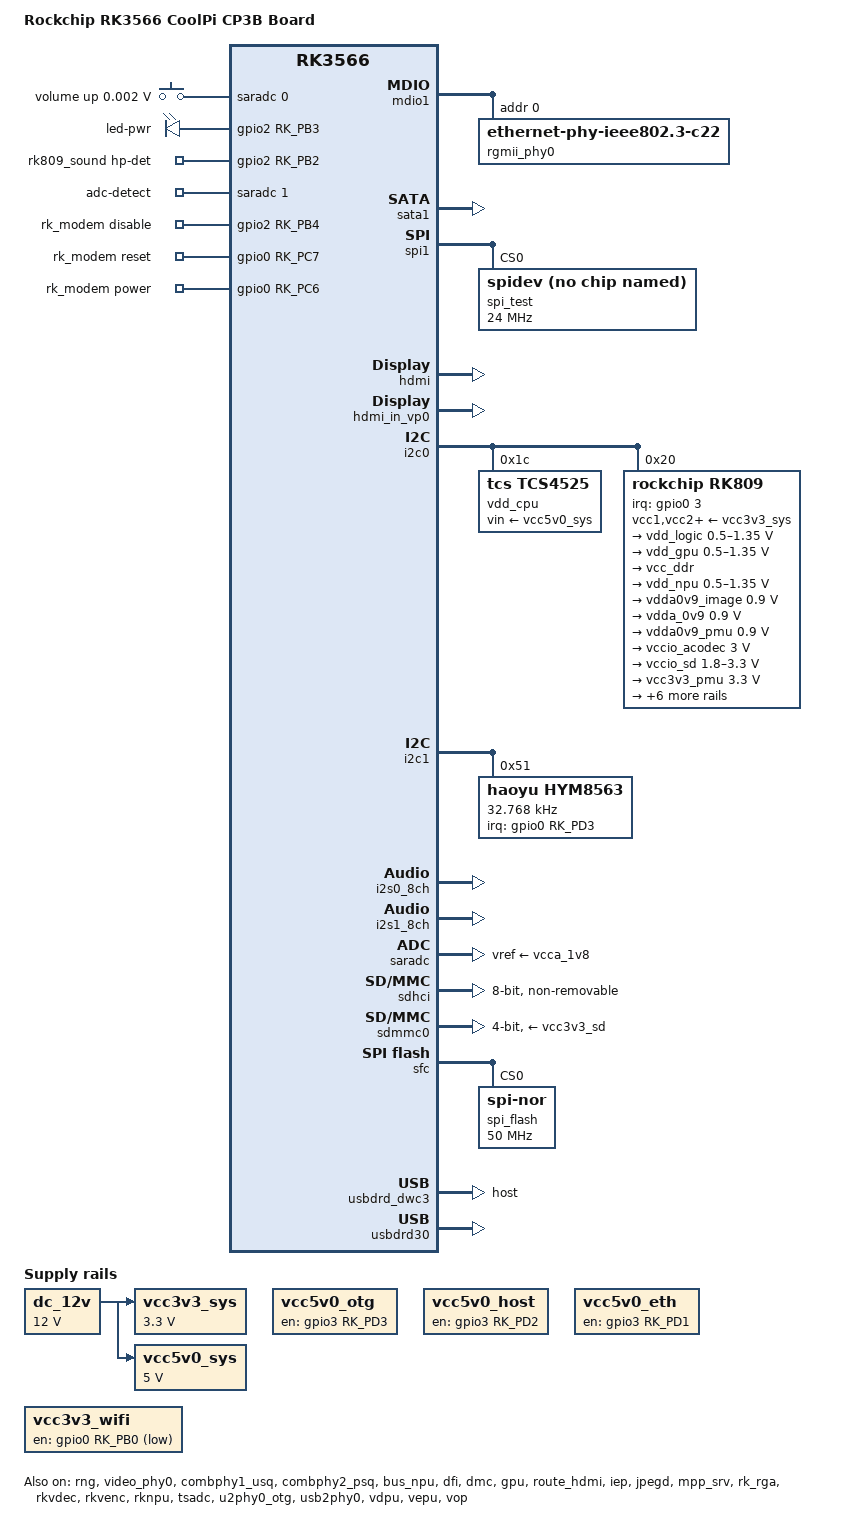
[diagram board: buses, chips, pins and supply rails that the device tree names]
// SPDX-License-Identifier: (GPL-2.0+ OR MIT)
/*
 * Copyright (c) 2020 Rockchip Electronics Co., Ltd.
 *
 */


// SPDX-License-Identifier: (GPL-2.0+ OR MIT)
/*
 * Copyright (c) 2020 Rockchip Electronics Co., Ltd.
 *
 */

/dts-v1/;
#include <dt-bindings/display/rockchip_vop.h>
#include <dt-bindings/gpio/gpio.h>
#include <dt-bindings/display/media-bus-format.h>
#include <dt-bindings/pinctrl/rockchip.h>
#include <dt-bindings/pwm/pwm.h>
#include <dt-bindings/input/rk-input.h>
#include <dt-bindings/display/drm_mipi_dsi.h>
#include <dt-bindings/sensor-dev.h>
#include "rk3566.dtsi"

/ {
	model = "Rockchip RK3566 CoolPi CP3B Board";
	compatible = "rockchip,rk3566";

	chosen: chosen {
		bootargs = "earlycon=uart8250,mmio32,0xfe660000 console=ttyFIQ0";
	};
	
	aliases {
		mmc0 = &sdhci;
		mmc1 = &sdmmc0;
		mmc2 = &sdmmc1;
		mmc3 = &sdmmc2;
	};

	fiq-debugger {
		compatible = "rockchip,fiq-debugger";
		rockchip,serial-id = <2>;
		rockchip,wake-irq = <0>;
		/* If enable uart uses irq instead of fiq */
		rockchip,irq-mode-enable = <1>;
		rockchip,baudrate = <115200>;  /* Only 115200 and 1500000 */
		interrupts = <GIC_SPI 252 IRQ_TYPE_LEVEL_LOW>;
		pinctrl-names = "default";
		pinctrl-0 = <&uart2m0_xfer>;
		status = "okay";
	};

	debug: debug@fd904000 {
		compatible = "rockchip,debug";
		reg = <0x0 0xfd904000 0x0 0x1000>,
			<0x0 0xfd905000 0x0 0x1000>,
			<0x0 0xfd906000 0x0 0x1000>,
			<0x0 0xfd907000 0x0 0x1000>;
	};

	cspmu: cspmu@fd90c000 {
		compatible = "rockchip,cspmu";
		reg = <0x0 0xfd90c000 0x0 0x1000>,
			<0x0 0xfd90d000 0x0 0x1000>,
			<0x0 0xfd90e000 0x0 0x1000>,
			<0x0 0xfd90f000 0x0 0x1000>;
	};
	
	adc_keys: adc-keys {
		compatible = "adc-keys";
		io-channels = <&saradc 0>;
		io-channel-names = "buttons";
		keyup-threshold-microvolt = <1800000>;
		poll-interval = <100>;

		vol-up-key {
			label = "volume up";
			linux,code = <KEY_VOLUMEUP>;
			press-threshold-microvolt = <1750>;
		};
	};
	
	leds: leds {
	status = "okay";
		compatible = "gpio-leds";
		led_pwr: led-pwr {
			label = "led-pwr";
			gpios = <&gpio2 RK_PB3 GPIO_ACTIVE_HIGH>;
			linux,default-trigger = "heartbeat";
		};	
	};

	rk809_sound: rk809-sound {
		status = "okay";
		compatible = "rockchip,multicodecs-card";
		rockchip,card-name = "rockchip-rk809";
		hp-det-gpio = <&gpio2 RK_PB2 GPIO_ACTIVE_HIGH>;
		io-channels = <&saradc 1>;
		io-channel-names = "adc-detect";
		keyup-threshold-microvolt = <1800000>;
		poll-interval = <100>;
		rockchip,format = "i2s";
		rockchip,mclk-fs = <256>;
		rockchip,cpu = <&i2s1_8ch>;
		rockchip,codec = <&rk809_codec>;
		pinctrl-names = "default";
		pinctrl-0 = <&hp_det>;
		play-pause-key {
			label = "playpause";
			linux,code = <KEY_PLAYPAUSE>;
			press-threshold-microvolt = <2000>;
		};
	};
	
	hdmi_sound: hdmi-sound {
		compatible = "simple-audio-card";
		simple-audio-card,format = "i2s";
		simple-audio-card,mclk-fs = <128>;
		simple-audio-card,name = "rockchip,hdmi";
		status = "disabled";

		simple-audio-card,cpu {
				sound-dai = <&i2s0_8ch>;
		};
		simple-audio-card,codec {
				sound-dai = <&hdmi>;
		};
	};
	
	dc_12v: dc-12v {
		compatible = "regulator-fixed";
		regulator-name = "dc_12v";
		regulator-always-on;
		regulator-boot-on;
		regulator-min-microvolt = <12000000>;
		regulator-max-microvolt = <12000000>;
	};

	vcc3v3_sys: vcc3v3-sys {
		compatible = "regulator-fixed";
		regulator-name = "vcc3v3_sys";
		regulator-always-on;
		regulator-boot-on;
		regulator-min-microvolt = <3300000>;
		regulator-max-microvolt = <3300000>;
		vin-supply = <&dc_12v>;
	};

	vcc5v0_sys: vcc5v0-sys {
		compatible = "regulator-fixed";
		regulator-name = "vcc5v0_sys";
		regulator-always-on;
		regulator-boot-on;
		regulator-min-microvolt = <5000000>;
		regulator-max-microvolt = <5000000>;
		vin-supply = <&dc_12v>;
	};
	
	vcc5v0_otg: vcc5v0-otg {
		compatible = "regulator-fixed";
		enable-active-high;
		gpio = <&gpio3 RK_PD3 GPIO_ACTIVE_HIGH>;
		pinctrl-names = "default";
		pinctrl-0 = <&vcc5v0_otg_en>;
		regulator-name = "vcc5v0_otg";
		regulator-always-on;
	};
	
	vcc5v0_host: vcc5v0-host {
		compatible = "regulator-fixed";
		enable-active-high;
		gpio = <&gpio3 RK_PD2 GPIO_ACTIVE_HIGH>;
		pinctrl-names = "default";
		pinctrl-0 = <&vcc5v0_host_en>;
		regulator-name = "vcc5v0_host";
		regulator-always-on;
	};
	
	vcc5v0_eth: vcc5v0-eth {
		compatible = "regulator-fixed";
		enable-active-high;
		gpio = <&gpio3 RK_PD1 GPIO_ACTIVE_HIGH>;
		pinctrl-names = "default";
		pinctrl-0 = <&vcc5v0_eth_en>;
		regulator-name = "vcc5v0_eth";
		regulator-always-on;
	};
	
	vcc3v3_wifi: vcc3v3-wifi {
		compatible = "regulator-fixed";
		enable-active-low;
		gpio = <&gpio0 RK_PB0 GPIO_ACTIVE_LOW>;
		pinctrl-names = "default";
		pinctrl-0 = <&vcc3v3_wifi_en>;
		regulator-name = "vcc3v3_wifi";
		regulator-always-on;
	};
	
	rk_modem: rk-modem {
		compatible="4g-modem-platdata";
		pinctrl-names = "default";
		pinctrl-0 = <&lte_disable &lte_power_en &lte_reset>;
		4G,disable-gpio  = <&gpio2 RK_PB4 GPIO_ACTIVE_HIGH>;
		4G,reset-gpio    = <&gpio0 RK_PC7 GPIO_ACTIVE_HIGH>;
		4G,power-gpio    = <&gpio0 RK_PC6 GPIO_ACTIVE_HIGH>;
		status = "okay";
	};
};

&reserved_memory {
	ramoops: ramoops@110000 {
		compatible = "ramoops";
		reg = <0x0 0x110000 0x0 0xf0000>;
		record-size = <0x20000>;
		console-size = <0x80000>;
		ftrace-size = <0x00000>;
		pmsg-size = <0x50000>;
	};
};

&rng {
	status = "okay";
};

&rockchip_suspend {
	status = "okay";
};

&vp0 {
	cursor-win-id = <ROCKCHIP_VOP2_ESMART0>;
};

&gmac1 {
	phy-mode = "rgmii";
	clock_in_out = "output";

	snps,reset-gpio = <&gpio4 RK_PC2 GPIO_ACTIVE_LOW>;
	snps,reset-active-low;
	/* Reset time is 20ms, 100ms for rtl8211f */
	snps,reset-delays-us = <0 20000 100000>;

	assigned-clocks = <&cru SCLK_GMAC1_RX_TX>, <&cru SCLK_GMAC1>;
	assigned-clock-parents = <&cru SCLK_GMAC1_RGMII_SPEED>, <&cru CLK_MAC1_2TOP>;
	assigned-clock-rates = <0>, <125000000>;

	pinctrl-names = "default";
	pinctrl-0 = <&gmac1m0_miim
		     &gmac1m0_tx_bus2
		     &gmac1m0_rx_bus2
		     &gmac1m0_rgmii_clk
		     &gmac1m0_rgmii_bus>;

	tx_delay = <0x44>;
	/*rx_delay = <0x2d>;*/

	phy-handle = <&rgmii_phy0>;
	status = "disabled";

	/*fixed-link {
		speed = <100>;
	};*/
};

&mdio1 {
	rgmii_phy0: phy@0 {
		compatible = "ethernet-phy-ieee802.3-c22";
		reg = <0x0>;
	};
};

&video_phy0 {
	status = "okay";
};

&video_phy1 {
	status = "disabled";
};

&combphy1_usq {
	status = "okay";
};

&combphy2_psq {
	status = "okay";
};

&pcie2x1 {
	reset-gpios = <&gpio1 RK_PB2 GPIO_ACTIVE_HIGH>;
	vpcie3v3-supply = <&vcc3v3_sys>;
	status = "disabled";
};

&sata1 {
	status = "okay";
};

&spi1 {
	status = "okay";
	max-freq = <24000000>;
	pinctrl-0 = <&spi1m0_cs0 &spi1m0_pins>;
	pinctrl-1 = <&spi1m0_cs0 &spi1m0_pins_hs>;
	num-cs = <1>;
	
	spi_test@0 {
		compatible = "rockchip,spidev";
		reg = <0>; //片选0或者1
		spi-cpha; //设置 CPHA = 1，不配置则为 0
		spi-cpol; //设置 CPOL = 1，不配置则为 0
		spi-lsb-first; //IO 先传输 lsb
		spi-max-frequency = <24000000>; //spi clk输出的时钟
	};
};

&bus_npu {
	bus-supply = <&vdd_logic>;
	pvtm-supply = <&vdd_cpu>;
	status = "okay";
};

&cpu0 {
	cpu-supply = <&vdd_cpu>;
};

&dfi {
	status = "okay";
};

&lpddr4_params {
	/* freq info, freq_0 is final frequency, unit: MHz */
	freq_0 = <1560>;
};

&lpddr4x_params {
	/* freq info, freq_0 is final frequency, unit: MHz */
	freq_0 = <1560>;
};

&dmc {
	center-supply = <&vdd_logic>;
	status = "okay";
};

&cpu0_opp_table {
	opp-1992000000 {
		opp-supported-hw = <0xf9 0xffff>;
		opp-hz = /bits/ 64 <1992000000>;
		opp-microvolt = <1150000 1150000 1150000>;
		opp-microvolt-L0 = <1150000 1150000 1150000>;
		opp-microvolt-L1 = <1150000 1150000 1150000>;
		opp-microvolt-L2 = <1125000 1125000 1150000>;
		opp-microvolt-L3 = <1100000 1100000 1150000>;
		clock-latency-ns = <40000>;
	};
};

&gpu {
	compatible = "rockchip, rk3568-mali","arm,mali-bifrost";
	reg = <0x0 0xfde60000 0x0 0x20000>;
	interrupts = <GIC_SPI 40 IRQ_TYPE_LEVEL_HIGH>,
				 <GIC_SPI 41 IRQ_TYPE_LEVEL_HIGH>,
				 <GIC_SPI 39 IRQ_TYPE_LEVEL_HIGH>;
	interrupt-names = "job", "mmu", "gpu";
	clock-names = "core", "bus"; 
	mali-supply = <&vdd_gpu>;
	status = "okay";
	/delete-property/ upthreshold;
	/delete-property/ downdifferential;
	/delete-node/ gpu_power_model;
};

&gpu_opp_table {
		opp-200000000 {
			/delete-property/ opp-supported-hw;
		};

		opp-300000000 {
			/delete-property/ opp-supported-hw;
		};

		opp-400000000 {
			/delete-property/ opp-supported-hw;
		};

		opp-600000000 {
			/delete-property/ opp-supported-hw;
		};

		opp-700000000 {
			/delete-property/ opp-supported-hw;
		};

		opp-800000000 {
			/delete-property/ opp-supported-hw;
		};
};

&hdmi {
	status = "okay";
	rockchip,phy-table =
		<92812500  0x8009 0x0000 0x0270>,
		<165000000 0x800b 0x0000 0x026d>,
		<185625000 0x800b 0x0000 0x01ed>,
		<297000000 0x800b 0x0000 0x01ad>,
		<594000000 0x8029 0x0000 0x0088>,
		<000000000 0x0000 0x0000 0x0000>;
};

&hdmi_in_vp0 {
	status = "okay";
};

&hdmi_in_vp1 {
	status = "disabled";
};

&hdmi_sound {
	status = "okay";
};

&route_hdmi {
	status = "okay";
	connect = <&vp0_out_hdmi>;
};

&i2c0 {
	status = "okay";

	vdd_cpu: tcs4525@1c {
		compatible = "tcs,tcs4525";
		reg = <0x1c>;
		vin-supply = <&vcc5v0_sys>;
		regulator-compatible = "fan53555-reg";
		regulator-name = "vdd_cpu";
		regulator-min-microvolt = <712500>;
		regulator-max-microvolt = <1390000>;
		regulator-init-microvolt = <900000>;
		regulator-ramp-delay = <2300>;
		fcs,suspend-voltage-selector = <1>;
		regulator-boot-on;
		regulator-always-on;
		regulator-state-mem {
			regulator-off-in-suspend;
		};
	};

	rk809: pmic@20 {
		compatible = "rockchip,rk809";
		reg = <0x20>;
		interrupt-parent = <&gpio0>;
		interrupts = <3 IRQ_TYPE_LEVEL_LOW>;

		pinctrl-names = "default", "pmic-sleep",
				"pmic-power-off", "pmic-reset";
		pinctrl-0 = <&pmic_int>;
		pinctrl-1 = <&soc_slppin_slp>, <&rk817_slppin_slp>;
		pinctrl-2 = <&soc_slppin_gpio>, <&rk817_slppin_pwrdn>;
		pinctrl-3 = <&soc_slppin_gpio>, <&rk817_slppin_rst>;

		rockchip,system-power-controller;
		wakeup-source;
		#clock-cells = <1>;
		clock-output-names = "rk808-clkout1", "rk808-clkout2";
		//fb-inner-reg-idxs = <2>;
		/* 1: rst regs (default in codes), 0: rst the pmic */
		pmic-reset-func = <0>;
		/* not save the PMIC_POWER_EN register in uboot */
		not-save-power-en = <1>;

		vcc1-supply = <&vcc3v3_sys>;
		vcc2-supply = <&vcc3v3_sys>;
		vcc3-supply = <&vcc3v3_sys>;
		vcc4-supply = <&vcc3v3_sys>;
		vcc5-supply = <&vcc3v3_sys>;
		vcc6-supply = <&vcc3v3_sys>;
		vcc7-supply = <&vcc3v3_sys>;
		vcc8-supply = <&vcc3v3_sys>;
		vcc9-supply = <&vcc3v3_sys>;

		pwrkey {
			status = "okay";
		};

		pinctrl_rk8xx: pinctrl_rk8xx {
			gpio-controller;
			#gpio-cells = <2>;

			rk817_slppin_null: rk817_slppin_null {
				pins = "gpio_slp";
				function = "pin_fun0";
			};

			rk817_slppin_slp: rk817_slppin_slp {
				pins = "gpio_slp";
				function = "pin_fun1";
			};

			rk817_slppin_pwrdn: rk817_slppin_pwrdn {
				pins = "gpio_slp";
				function = "pin_fun2";
			};

			rk817_slppin_rst: rk817_slppin_rst {
				pins = "gpio_slp";
				function = "pin_fun3";
			};
		};

		regulators {
			vdd_logic: DCDC_REG1 {
				regulator-always-on;
				regulator-boot-on;
				regulator-min-microvolt = <500000>;
				regulator-max-microvolt = <1350000>;
				regulator-init-microvolt = <900000>;
				regulator-ramp-delay = <6001>;
				regulator-initial-mode = <0x2>;
				regulator-name = "vdd_logic";
				regulator-state-mem {
					regulator-off-in-suspend;
				};
			};

			vdd_gpu: DCDC_REG2 {
				regulator-always-on;
				regulator-boot-on;
				regulator-min-microvolt = <500000>;
				regulator-max-microvolt = <1350000>;
				regulator-init-microvolt = <900000>;
				regulator-ramp-delay = <6001>;
				regulator-initial-mode = <0x2>;
				regulator-name = "vdd_gpu";
				regulator-state-mem {
					regulator-off-in-suspend;
				};
			};

			vcc_ddr: DCDC_REG3 {
				regulator-always-on;
				regulator-boot-on;
				regulator-initial-mode = <0x2>;
				regulator-name = "vcc_ddr";
				regulator-state-mem {
					regulator-on-in-suspend;
				};
			};

			vdd_npu: DCDC_REG4 {
				regulator-always-on;
				regulator-boot-on;
				regulator-min-microvolt = <500000>;
				regulator-max-microvolt = <1350000>;
				regulator-init-microvolt = <900000>;
				regulator-ramp-delay = <6001>;
				regulator-initial-mode = <0x2>;
				regulator-name = "vdd_npu";
				regulator-state-mem {
					regulator-off-in-suspend;
				};
			};

			vdda0v9_image: LDO_REG1 {
				regulator-boot-on;
				regulator-always-on;
				regulator-min-microvolt = <900000>;
				regulator-max-microvolt = <900000>;
				regulator-name = "vdda0v9_image";
				regulator-state-mem {
					regulator-off-in-suspend;
				};
			};

			vdda_0v9: LDO_REG2 {
				regulator-always-on;
				regulator-boot-on;
				regulator-min-microvolt = <900000>;
				regulator-max-microvolt = <900000>;
				regulator-name = "vdda_0v9";
				regulator-state-mem {
					regulator-off-in-suspend;
				};
			};

			vdda0v9_pmu: LDO_REG3 {
				regulator-always-on;
				regulator-boot-on;
				regulator-min-microvolt = <900000>;
				regulator-max-microvolt = <900000>;
				regulator-name = "vdda0v9_pmu";
				regulator-state-mem {
					regulator-on-in-suspend;
					regulator-suspend-microvolt = <900000>;
				};
			};

			vccio_acodec: LDO_REG4 {
				regulator-always-on;
				regulator-boot-on;
				regulator-min-microvolt = <3000000>;
				regulator-max-microvolt = <3000000>;
				regulator-name = "vccio_acodec";
				regulator-state-mem {
					regulator-off-in-suspend;
				};
			};

			vccio_sd: LDO_REG5 {
				regulator-always-on;
				regulator-boot-on;
				regulator-min-microvolt = <1800000>;
				regulator-max-microvolt = <3300000>;
				regulator-name = "vccio_sd";
				regulator-state-mem {
					regulator-off-in-suspend;
				};
			};

			vcc3v3_pmu: LDO_REG6 {
				regulator-always-on;
				regulator-boot-on;
				regulator-min-microvolt = <3300000>;
				regulator-max-microvolt = <3300000>;
				regulator-name = "vcc3v3_pmu";
				regulator-state-mem {
					regulator-on-in-suspend;
					regulator-suspend-microvolt = <3300000>;
				};
			};

			vcca_1v8: LDO_REG7 {
				regulator-always-on;
				regulator-boot-on;
				regulator-min-microvolt = <1800000>;
				regulator-max-microvolt = <1800000>;
				regulator-name = "vcca_1v8";
				regulator-state-mem {
					regulator-off-in-suspend;
				};
			};

			vcca1v8_pmu: LDO_REG8 {
				regulator-always-on;
				regulator-boot-on;
				regulator-min-microvolt = <1800000>;
				regulator-max-microvolt = <1800000>;
				regulator-name = "vcca1v8_pmu";
				regulator-state-mem {
					regulator-on-in-suspend;
					regulator-suspend-microvolt = <1800000>;
				};
			};

			vcca1v8_image: LDO_REG9 {
				regulator-always-on;
				regulator-boot-on;
				regulator-min-microvolt = <1800000>;
				regulator-max-microvolt = <1800000>;
				regulator-name = "vcca1v8_image";
				regulator-state-mem {
					regulator-off-in-suspend;
				};
			};

			vcc_1v8: DCDC_REG5 {
				regulator-always-on;
				regulator-boot-on;
				regulator-min-microvolt = <1800000>;
				regulator-max-microvolt = <1800000>;
				regulator-name = "vcc_1v8";
				regulator-state-mem {
					regulator-off-in-suspend;
				};
			};

			vcc_3v3: SWITCH_REG1 {
				regulator-always-on;
				regulator-boot-on;
				regulator-name = "vcc_3v3";
				regulator-state-mem {
					regulator-off-in-suspend;
				};
			};

			vcc3v3_sd: SWITCH_REG2 {
				regulator-always-on;
				regulator-boot-on;
				regulator-name = "vcc3v3_sd";
				regulator-state-mem {
					regulator-off-in-suspend;
				};
			};
		};

		rk809_codec: codec {
			#sound-dai-cells = <1>;
			compatible = "rockchip,rk809-codec", "rockchip,rk817-codec";
			clocks = <&cru I2S1_MCLKOUT>;
			clock-names = "mclk";
			assigned-clocks = <&cru I2S1_MCLKOUT>, <&cru I2S1_MCLK_TX_IOE>;
			assigned-clock-rates = <12288000>;
			assigned-clock-parents = <&cru I2S1_MCLKOUT_TX>, <&cru I2S1_MCLKOUT_TX>;
			pinctrl-names = "default";
			pinctrl-0 = <&i2s1m0_mclk>;
			hp-volume = <20>;
			spk-volume = <3>;
			mic-in-differential;
			status = "okay";
		};
	};
};

&i2c1 {
	status = "okay";
	
	hym8563: hym8563@51 {
		compatible = "haoyu,hym8563";
		reg = <0x51>;
		#clock-cells = <0>;
		clock-frequency = <32768>;
		clock-output-names = "hym8563";
		pinctrl-names = "default";
		pinctrl-0 = <&hym8563_int>;
		interrupt-parent = <&gpio0>;
		interrupts = <RK_PD3 IRQ_TYPE_LEVEL_LOW>;
		//wakeup-source;
		status = "okay";
	};
};

&i2s0_8ch {
	status = "okay";
};

&i2s1_8ch {
	status = "okay";
	rockchip,clk-trcm = <1>;
	pinctrl-names = "default";
	pinctrl-0 = <&i2s1m0_sclktx
		     &i2s1m0_lrcktx
		     &i2s1m0_sdi0
		     &i2s1m0_sdo0>;
};

&iep {
	status = "okay";
};

&iep_mmu {
	status = "okay";
};

&jpegd {
	status = "okay";
};

&jpegd_mmu {
	status = "okay";
};

&mpp_srv {
	status = "okay";
};

&pmu_io_domains {
	status = "okay";
	pmuio1-supply = <&vcc3v3_pmu>;
	pmuio2-supply = <&vcc3v3_pmu>;
	vccio1-supply = <&vccio_acodec>;
	vccio3-supply = <&vccio_sd>;
	vccio4-supply = <&vcc_1v8>;
	vccio5-supply = <&vcc_1v8>;
	vccio6-supply = <&vcc_1v8>;
	vccio7-supply = <&vcc_3v3>;
};

&rk_rga {
	status = "okay";
};

&rkvdec {
	status = "okay";
};

&rkvdec_mmu {
	status = "okay";
};

&rkvenc {
	venc-supply = <&vdd_logic>;
	status = "okay";
};

&rkvenc_mmu {
	status = "okay";
};

&rknpu {
	rknpu-supply = <&vdd_npu>;
	status = "okay";
};

&rknpu_mmu {
	status = "okay";
};

&saradc {
	status = "okay";
	vref-supply = <&vcca_1v8>;
};

&sdhci {
	bus-width = <8>;
	no-sdio;
	no-sd;
	non-removable;
	max-frequency = <200000000>;
	full-pwr-cycle-in-suspend;
	status = "okay";
};

&sdmmc0 {
	max-frequency = <150000000>;
	no-sdio;
	no-mmc;
	bus-width = <4>;
	cap-mmc-highspeed;
	cap-sd-highspeed;
	disable-wp;
	sd-uhs-sdr104;
	vmmc-supply = <&vcc3v3_sd>;
	vqmmc-supply = <&vccio_sd>;
	pinctrl-names = "default";
	pinctrl-0 = <&sdmmc0_bus4 &sdmmc0_clk &sdmmc0_cmd &sdmmc0_det>;
	status = "okay";
};

&sfc {
	status = "okay";

	spi_flash: spi-flash@0 {
		#address-cells = <1>;
		#size-cells = <0>;
		compatible = "jedec,spi-nor";
		reg = <0x0>;
		spi-max-frequency = <50000000>;
		spi-tx-bus-width = <1>;
		spi-rx-bus-width = <4>;
		status = "okay";
	};
};

&tsadc {
	status = "okay";
};

//otg0
&u2phy0_otg {
	vbus-supply = <&vcc5v0_otg>;
	status = "okay";
};

&usb2phy0 {
	status = "okay";
};

&usbdrd_dwc3 {
	dr_mode = "host";
	status = "okay";
};

&usbdrd30 {
	status = "okay";
};

//host1
&u2phy0_host {
	phy-supply = <&vcc5v0_host>;
	status = "disabled";
};

&usbhost_dwc3 {
	phys = <&u2phy0_host>;
	phy-names = "usb2-phy";
	maximum-speed = "high-speed";
	snps,dis_u2_susphy_quirk;
	status = "disabled";
};

&usbhost30 {
	status = "disabled";
};

//host2
&u2phy1_otg {
	phy-supply = <&vcc5v0_host>;
	status = "disabled";
};

&usb2phy1 {
	status = "disabled";
};

&usb_host0_ehci {
	status = "disabled";
};

&usb_host0_ohci {
	status = "disabled";
};

//host3
&u2phy1_host {
	phy-supply = <&vcc5v0_host>;
	status = "disabled";
};

&usb_host1_ehci {
	status = "disabled";
};

&usb_host1_ohci {
	status = "disabled";
};

&vdpu {
	status = "okay";
};

&vdpu_mmu {
	status = "okay";
};

&vepu {
	status = "okay";
};

&vepu_mmu {
	status = "okay";
};

&vop {
	status = "okay";
	disable-win-move;
	vop-supply = <&vdd_logic>;
	assigned-clocks = <&cru DCLK_VOP0>, <&cru DCLK_VOP1>, <&cru DCLK_VOP2>;
	assigned-clock-parents = <&pmucru PLL_HPLL>, <&cru PLL_VPLL>, <&cru PLL_GPLL>;
};

&vop_mmu {
	status = "okay";
};

&pinctrl {

	headphone {
		hp_det: hp-det {
			rockchip,pins = <2 RK_PB2 RK_FUNC_GPIO &pcfg_pull_up>;
		};
	};

	pmic {
		pmic_int: pmic_int {
			rockchip,pins =
				<0 RK_PA3 RK_FUNC_GPIO &pcfg_pull_up>;
		};

		soc_slppin_gpio: soc_slppin_gpio {
			rockchip,pins =
				<0 RK_PA2 RK_FUNC_GPIO &pcfg_output_low>;
		};

		soc_slppin_slp: soc_slppin_slp {
			rockchip,pins =
				<0 RK_PA2 1 &pcfg_pull_none>;
		};

		soc_slppin_rst: soc_slppin_rst {
			rockchip,pins =
				<0 RK_PA2 2 &pcfg_pull_none>;
		};
	};
	
	rtc {
		hym8563_int: hym8563-int {
			rockchip,pins = <0 RK_PD3 RK_FUNC_GPIO &pcfg_pull_none>;
		};
	};
	
	usb {
		vcc5v0_otg_en: vcc5v0-otg-en {
			rockchip,pins = <3 RK_PD3 RK_FUNC_GPIO &pcfg_pull_none>;
		};
		
		vcc5v0_host_en: vcc5v0-host-en {
			rockchip,pins = <3 RK_PD2 RK_FUNC_GPIO &pcfg_pull_none>;
		};
		
		vcc5v0_eth_en: vcc5v0-eth-en {
			rockchip,pins = <3 RK_PD1 RK_FUNC_GPIO &pcfg_pull_none>;
		};
		
		vcc3v3_wifi_en: vcc3v3-wifi-en {
			rockchip,pins = <0 RK_PB0 RK_FUNC_GPIO &pcfg_pull_none>;
		};
	};
	
	rk-modem {
		lte_disable: lte-disable {
			rockchip,pins = <0 RK_PC6 RK_FUNC_GPIO &pcfg_pull_up>;
		};

		lte_power_en: lte-power-en {
			rockchip,pins = <4 RK_PC4 RK_FUNC_GPIO &pcfg_pull_up>;
		};

		lte_reset: lte-reset {
			rockchip,pins = <0 RK_PC7 RK_FUNC_GPIO &pcfg_pull_up>;
		};
	};
};

